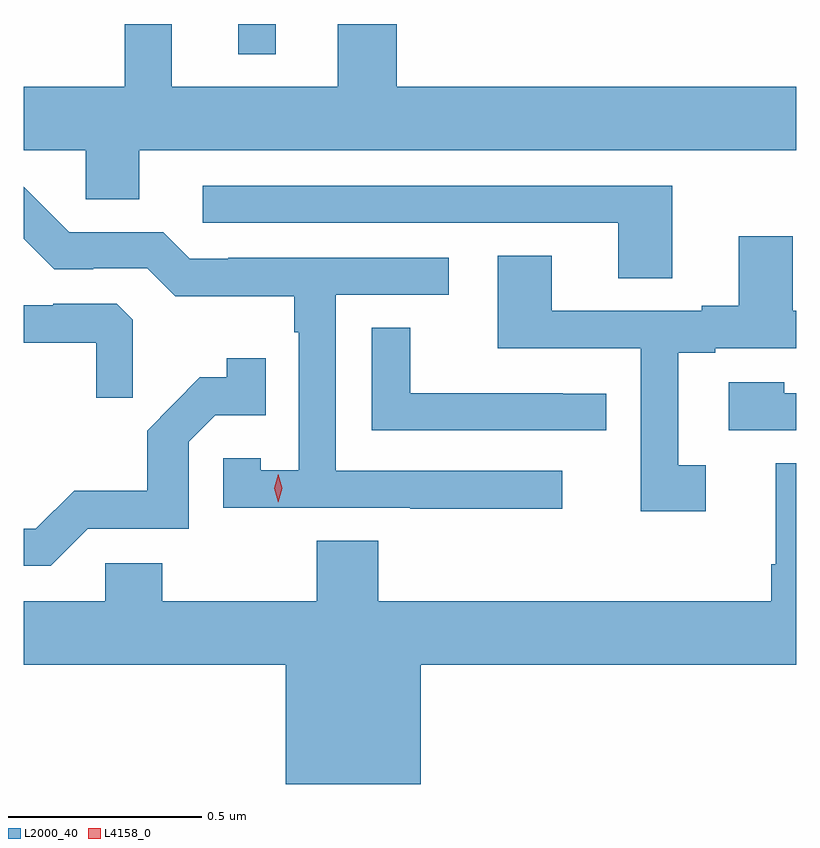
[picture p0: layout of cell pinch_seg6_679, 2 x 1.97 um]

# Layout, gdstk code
import gdstk
lib = gdstk.Library(unit=1e-6, precision=1e-09)
def R(c, l, rs):  # rectangles x0, y0, x1, y1
    for r in rs: c.add(gdstk.rectangle(r[:2], r[2:], *l))
def P(c, l, *ps):  # polygons
    for p in ps: c.add(gdstk.Polygon(p, *l))
L2000_40 = (2000, 40)
L4158_0 = (4158, 0)

pinch_seg6_679 = lib.new_cell('pinch_seg6_679')
R(pinch_seg6_679, L2000_40, [(481.145,938.261,481.243,938.339)])
P(pinch_seg6_679, L2000_40, [(480.889,938.012),(482.59,938.012),(482.59,938.176),(481.556,938.176),(481.556,938.339),(481.403,938.339),(481.403,938.176),(480.973,938.176),(480.973,938.339),(480.851,938.339),(480.851,938.176),(480.59,938.176),(480.59,938.012),(480.75,938.012),(480.75,937.885),(480.889,937.885)],
  [(482.269,937.92),(481.053,937.92),(481.053,937.824),(482.129,937.824),(482.129,937.681),(482.269,937.681)],
  [(481.984,937.182),(481.398,937.182),(481.398,937.638),(481.69,937.638),(481.69,937.734),(481.12,937.734),(481.12,937.731),(481.02,937.731),(480.951,937.8),(480.708,937.8),(480.59,937.918),(480.59,937.783),(480.669,937.704),(480.77,937.704),(480.77,937.707),(480.909,937.707),(480.982,937.634),(481.29,937.634),(481.29,937.541),(481.302,937.541),(481.302,937.183),(481.203,937.183),(481.203,937.215),(481.107,937.215),(481.107,937.086),(481.591,937.086),(481.591,937.084),(481.984,937.084)],
  [(482.356,937.197),(482.284,937.197),(482.284,937.488),(482.38,937.488),(482.38,937.5),(482.59,937.5),(482.59,937.596),(482.581,937.596),(482.581,937.789),(482.441,937.789),(482.441,937.609),(482.345,937.609),(482.345,937.596),(481.957,937.596),(481.957,937.739),(481.817,937.739),(481.817,937.5),(482.187,937.5),(482.187,937.077),(482.356,937.077)],
  [(480.872,937.573),(480.831,937.614),(480.666,937.614),(480.666,937.611),(480.59,937.611),(480.59,937.514),(480.778,937.514),(480.778,937.371),(480.872,937.371)],
  [(482.098,937.382),(481.985,937.382),(481.985,937.383),(481.59,937.383),(481.59,937.553),(481.491,937.553),(481.491,937.287),(482.098,937.287)],
  [(480.756,937.032),(481.017,937.032),(481.017,937.257),(481.086,937.326),(481.217,937.326),(481.217,937.474),(481.116,937.474),(481.116,937.424),(481.046,937.424),(480.909,937.286),(480.909,937.131),(480.72,937.131),(480.621,937.032),(480.59,937.032),(480.59,936.936),(480.66,936.936)],
  [(482.59,937.383),(482.559,937.383),(482.559,937.411),(482.415,937.411),(482.415,937.287),(482.59,937.287)],
  [(481.618,936.68),(482.59,936.68),(482.59,937.201),(482.537,937.201),(482.537,936.94),(482.525,936.94),(482.525,936.844),(481.508,936.844),(481.508,937.001),(481.348,937.001),(481.348,936.844),(480.948,936.844),(480.948,936.942),(480.801,936.942),(480.801,936.844),(480.59,936.844),(480.59,936.68),(481.268,936.68),(481.268,936.371),(481.618,936.371)])
P(pinch_seg6_679, L4158_0, [(481.249,937.101),(481.249,937.101),(481.239,937.137),(481.249,937.173),(481.249,937.173),(481.249,937.173),(481.259,937.137),(481.249,937.101)])

lib.write_gds('pinch_seg6_679.gds')
